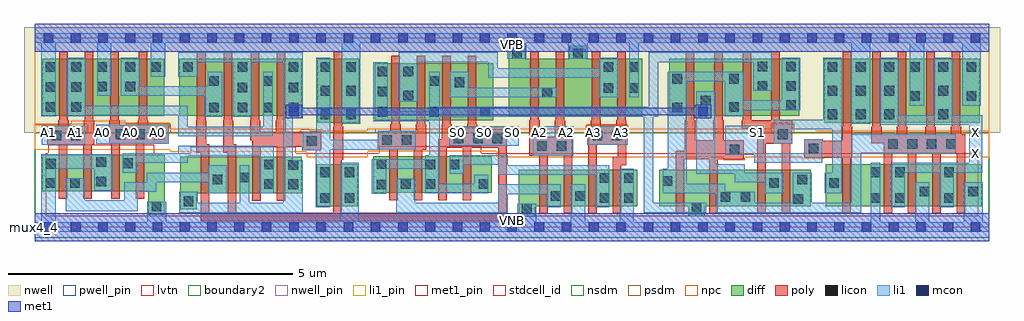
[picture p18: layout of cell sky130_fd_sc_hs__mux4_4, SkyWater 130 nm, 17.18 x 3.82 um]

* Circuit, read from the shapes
.subckt sky130_fd_sc_hs__mux4_4 A0 A1 A2 A3 S0 S1 VGND VNB VPB VPWR X
XM1 n1 A1 VGND VNB sky130_fd_pr__nfet_01v8_lvt w=0.64 l=0.15 m=2
XM2 n2 A0 VGND VNB sky130_fd_pr__nfet_01v8_lvt w=0.64 l=0.15 m=2
XM3 n1 S0 n3 VNB sky130_fd_pr__nfet_01v8_lvt w=0.64 l=0.15 m=2
XM4 n2 n4 n3 VNB sky130_fd_pr__nfet_01v8_lvt w=0.64 l=0.15 m=2
XM5 VGND S0 n4 VNB sky130_fd_pr__nfet_01v8_lvt w=0.74 l=0.15
XM6 n5 n4 n6 VNB sky130_fd_pr__nfet_01v8_lvt w=0.64 l=0.15 m=2
XM7 n7 S0 n6 VNB sky130_fd_pr__nfet_01v8_lvt w=0.64 l=0.15 m=2
XM8 n5 A2 VGND VNB sky130_fd_pr__nfet_01v8_lvt w=0.64 l=0.15 m=2
XM9 n7 A3 VGND VNB sky130_fd_pr__nfet_01v8_lvt w=0.64 l=0.15 m=2
XM10 n6 S1 n8 VNB sky130_fd_pr__nfet_01v8_lvt w=0.64 l=0.15 m=2
XM11 n3 n9 n8 VNB sky130_fd_pr__nfet_01v8_lvt w=0.64 l=0.15 m=2
XM12 VGND S1 n9 VNB sky130_fd_pr__nfet_01v8_lvt w=0.74 l=0.15
XM13 X n8 VGND VNB sky130_fd_pr__nfet_01v8_lvt w=0.74 l=0.15 m=4
XM14 n10 A1 VPWR VPB sky130_fd_pr__pfet_01v8 w=1 l=0.15 m=2
XM15 n11 A0 VPWR VPB sky130_fd_pr__pfet_01v8 w=1 l=0.15 m=2
XM16 n11 S0 n3 VPB sky130_fd_pr__pfet_01v8 w=1 l=0.15 m=2
XM17 n10 n4 n3 VPB sky130_fd_pr__pfet_01v8 w=1 l=0.15 m=2
XM18 VPWR S0 n4 VPB sky130_fd_pr__pfet_01v8 w=1.12 l=0.15
XM19 n12 n4 n6 VPB sky130_fd_pr__pfet_01v8 w=1 l=0.15 m=2
XM20 n13 S0 n6 VPB sky130_fd_pr__pfet_01v8 w=1 l=0.15 m=2
XM21 n13 A2 VPWR VPB sky130_fd_pr__pfet_01v8 w=1 l=0.15 m=2
XM22 n12 A3 VPWR VPB sky130_fd_pr__pfet_01v8 w=1 l=0.15 m=2
XM23 n3 S1 n8 VPB sky130_fd_pr__pfet_01v8 w=1 l=0.15 m=2
XM24 n6 n9 n8 VPB sky130_fd_pr__pfet_01v8 w=1 l=0.15 m=2
XM25 VPWR S1 n9 VPB sky130_fd_pr__pfet_01v8 w=1.12 l=0.15
XM26 X n8 VPWR VPB sky130_fd_pr__pfet_01v8 w=1.12 l=0.15 m=4
.ends

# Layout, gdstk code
import gdstk
lib = gdstk.Library(unit=1e-6, precision=1e-09)
def R(c, l, rs):  # rectangles x0, y0, x1, y1
    for r in rs: c.add(gdstk.rectangle(r[:2], r[2:], *l))
def A(c, l, x, y, w, h, nx, ny, dx, dy):  # array of equal rectangles
    R(c, l, [(x+i*dx, y+j*dy, x+i*dx+w, y+j*dy+h) for i in range(nx) for j in range(ny)])
def P(c, l, *ps):  # polygons
    for p in ps: c.add(gdstk.Polygon(p, *l))
nwell_pin = (64, 16)
nwell = (64, 20)
diff = (65, 20)
poly = (66, 20)
licon = (66, 44)
li1_pin = (67, 16)
li1 = (67, 20)
mcon = (67, 44)
met1_pin = (68, 16)
met1 = (68, 20)
stdcell_id = (81, 4)
nsdm = (93, 44)
psdm = (94, 20)
npc = (95, 20)
pwell_pin = (122, 16)
lvtn = (125, 44)
boundary2 = (236, 0)

sky130_fd_sc_hs__mux4_4 = lib.new_cell('sky130_fd_sc_hs__mux4_4')
R(sky130_fd_sc_hs__mux4_4, nwell_pin, [(0,3.085,16.8,3.33)])
R(sky130_fd_sc_hs__mux4_4, nwell, [(-0.19,1.66,16.99,3.52)])
R(sky130_fd_sc_hs__mux4_4, diff, [(4.965,0.37,5.685,1.11), (13.925,0.37,16.665,1.11), (5.955,0.605,8.045,1.245), (4.97,1.84,5.71,2.96), (13.895,1.84,16.635,2.96), (5.98,1.885,8.07,2.885), (0.135,1.96,2.275,2.96), (2.545,1.96,4.7,2.96), (11.165,1.96,13.455,2.96)])
P(sky130_fd_sc_hs__mux4_4, diff, [(2.29,1.27),(0.135,1.27),(0.135,0.63),(2,0.63),(2,0.22),(2.29,0.22)],
  [(4.695,1.235),(2.56,1.235),(2.56,0.31),(2.85,0.31),(2.85,0.595),(4.695,0.595)],
  [(10.605,1.01),(8.515,1.01),(8.515,0.18),(8.805,0.18),(8.805,0.37),(10.605,0.37)],
  [(10.695,2.96),(9.71,2.96),(9.71,3.195),(9.41,3.195),(9.41,2.96),(8.63,2.96),(8.63,3.195),(8.34,3.195),(8.34,1.96),(10.695,1.96)],
  [(13.655,1.01),(10.995,1.01),(10.995,0.37),(11.505,0.37),(11.505,0.195),(11.795,0.195),(11.795,0.37),(13.655,0.37)])
P(sky130_fd_sc_hs__mux4_4, poly, [(1.045,1.885),(1.03,1.885),(1.03,3.09),(0.88,3.09),(0.88,1.885),(0.865,1.885),(0.865,1.78),(0.595,1.78),(0.595,1.885),(0.58,1.885),(0.58,3.09),(0.43,3.09),(0.43,1.885),(0.415,1.885),(0.415,1.78),(0.22,1.78),(0.22,1.45),(0.42,1.45),(0.42,0.5),(0.57,0.5),(0.57,1.45),(0.85,1.45),(0.85,0.5),(1,0.5),(1,1.45),(1.045,1.45)],
  [(2.355,1.8),(1.995,1.8),(1.995,1.885),(1.98,1.885),(1.98,3.09),(1.83,3.09),(1.83,1.885),(1.815,1.885),(1.815,1.8),(1.495,1.8),(1.495,1.885),(1.48,1.885),(1.48,3.09),(1.33,3.09),(1.33,1.885),(1.315,1.885),(1.315,1.47),(1.345,1.47),(1.345,0.5),(1.495,0.5),(1.495,1.47),(1.775,1.47),(1.775,0.5),(1.925,0.5),(1.925,1.47),(2.355,1.47)],
  [(5.04,1.68),(4.42,1.68),(4.42,1.885),(4.405,1.885),(4.405,3.09),(4.255,3.09),(4.255,1.885),(4.24,1.885),(4.24,1.68),(3.97,1.68),(3.97,1.885),(3.955,1.885),(3.955,3.09),(3.805,3.09),(3.805,1.885),(3.79,1.885),(3.79,1.53),(3.83,1.53),(3.83,0.465),(3.98,0.465),(3.98,1.415),(4.26,1.415),(4.26,0.465),(4.41,0.465),(4.41,1.415),(4.71,1.415),(4.71,1.35),(5.04,1.35)],
  [(6.89,1.81),(6.875,1.81),(6.875,3.015),(6.725,3.015),(6.725,1.81),(6.71,1.81),(6.71,1.695),(6.44,1.695),(6.44,1.81),(6.425,1.81),(6.425,3.015),(6.275,3.015),(6.275,1.81),(6.26,1.81),(6.26,1.695),(6.035,1.695),(6.035,1.365),(6.24,1.365),(6.24,0.475),(6.39,0.475),(6.39,1.365),(6.67,1.365),(6.67,0.475),(6.82,0.475),(6.82,1.365),(6.89,1.365)],
  [(8.305,1.725),(7.79,1.725),(7.79,1.81),(7.775,1.81),(7.775,3.015),(7.625,3.015),(7.625,1.81),(7.61,1.81),(7.61,1.725),(7.34,1.725),(7.34,1.81),(7.325,1.81),(7.325,3.015),(7.175,3.015),(7.175,1.81),(7.16,1.81),(7.16,1.545),(7.1,1.545),(7.1,0.475),(7.25,0.475),(7.25,1.395),(7.53,1.395),(7.53,0.475),(7.68,0.475),(7.68,1.395),(8.155,1.395),(8.155,0.255),(5.4,0.255),(5.4,1.185),(5.43,1.185),(5.43,1.765),(5.415,1.765),(5.415,3.09),(5.265,3.09),(5.265,1.765),(5.25,1.765),(5.25,0.255),(3.55,0.255),(3.55,1.46),(3.495,1.46),(3.495,1.885),(3.48,1.885),(3.48,3.09),(3.33,3.09),(3.33,1.885),(3.315,1.885),(3.315,1.31),(3.4,1.31),(3.4,0.255),(3.075,0.255),(3.075,1.46),(3.02,1.46),(3.02,1.885),(3.005,1.885),(3.005,3.09),(2.855,3.09),(2.855,1.885),(2.84,1.885),(2.84,1.31),(2.925,1.31),(2.925,0.105),(8.305,0.105)],
  [(9.46,1.59),(9.335,1.59),(9.335,1.885),(9.32,1.885),(9.32,3.09),(9.17,3.09),(9.17,1.885),(9.155,1.885),(9.155,1.59),(8.885,1.59),(8.885,1.885),(8.87,1.885),(8.87,3.09),(8.72,3.09),(8.72,1.885),(8.705,1.885),(8.705,1.26),(8.88,1.26),(8.88,0.24),(9.03,0.24),(9.03,1.26),(9.31,1.26),(9.31,0.24),(9.46,0.24)],
  [(10.415,1.885),(10.4,1.885),(10.4,3.09),(10.25,3.09),(10.25,1.885),(10.235,1.885),(10.235,1.775),(9.965,1.775),(9.965,1.885),(9.95,1.885),(9.95,3.09),(9.8,3.09),(9.8,1.885),(9.785,1.885),(9.785,1.775),(9.74,1.775),(9.74,0.24),(9.89,0.24),(9.89,1.445),(10.26,1.445),(10.26,1.235),(10.17,1.235),(10.17,0.24),(10.32,0.24),(10.32,1.085),(10.41,1.085),(10.41,1.595),(10.415,1.595)],
  [(12.48,1.525),(12.125,1.525),(12.125,1.885),(12.11,1.885),(12.11,3.09),(11.96,3.09),(11.96,1.885),(11.945,1.885),(11.945,1.525),(11.625,1.525),(11.625,1.885),(11.61,1.885),(11.61,3.09),(11.46,3.09),(11.46,1.885),(11.445,1.885),(11.445,1.345),(11.28,1.345),(11.28,0.24),(11.43,0.24),(11.43,1.195),(11.87,1.195),(11.87,0.24),(12.02,0.24),(12.02,1.195),(12.48,1.195)],
  [(16.38,1.63),(16.305,1.63),(16.305,1.765),(16.29,1.765),(16.29,3.09),(16.14,3.09),(16.14,1.765),(16.125,1.765),(16.125,1.63),(15.855,1.63),(15.855,1.765),(15.84,1.765),(15.84,3.09),(15.69,3.09),(15.69,1.765),(15.675,1.765),(15.675,1.63),(15.355,1.63),(15.355,1.765),(15.34,1.765),(15.34,3.09),(15.19,3.09),(15.19,1.765),(15.175,1.765),(15.175,1.63),(14.905,1.63),(14.905,1.765),(14.89,1.765),(14.89,3.09),(14.74,3.09),(14.74,1.765),(14.725,1.765),(14.725,1.48),(14.94,1.48),(14.94,0.24),(15.09,0.24),(15.09,1.3),(15.37,1.3),(15.37,0.24),(15.52,0.24),(15.52,1.3),(15.8,1.3),(15.8,0.24),(15.95,0.24),(15.95,1.3),(16.23,1.3),(16.23,0.24),(16.38,0.24)],
  [(14.39,1.765),(14.375,1.765),(14.375,3.09),(14.225,3.09),(14.225,1.765),(14.21,1.765),(14.21,1.52),(13.87,1.52),(13.87,1.55),(13.54,1.55),(13.54,1.22),(14.21,1.22),(14.21,0.24),(14.36,0.24),(14.36,1.22),(14.39,1.22)],
  [(13.33,1.885),(13.11,1.885),(13.11,3.09),(12.96,3.09),(12.96,1.885),(12.61,1.885),(12.61,3.09),(12.46,3.09),(12.46,1.885),(12.445,1.885),(12.445,1.735),(12.72,1.735),(12.72,0.24),(12.87,0.24),(12.87,1.47),(13.15,1.47),(13.15,0.24),(13.3,0.24),(13.3,1.47),(13.33,1.47)])
A(sky130_fd_sc_hs__mux4_4, licon, 15.02, 1.38, 0.17, 0.17, 4, 1, 0.34, 0)
A(sky130_fd_sc_hs__mux4_4, licon, 7.375, 1.475, 0.17, 0.17, 3, 1, 0.34, 0)
A(sky130_fd_sc_hs__mux4_4, licon, 1.425, 1.55, 0.17, 0.17, 3, 1, 0.34, 0)
A(sky130_fd_sc_hs__mux4_4, licon, 5.03, 1.9, 0.17, 0.17, 1, 3, 0, 0.415)
A(sky130_fd_sc_hs__mux4_4, licon, 5.48, 1.9, 0.17, 0.17, 1, 3, 0, 0.415)
A(sky130_fd_sc_hs__mux4_4, licon, 13.955, 1.9, 0.17, 0.17, 3, 3, 0.5, 0.415)
A(sky130_fd_sc_hs__mux4_4, licon, 6.04, 1.945, 0.17, 0.17, 3, 1, 0.9, 0)
A(sky130_fd_sc_hs__mux4_4, licon, 3.57, 2.02, 0.17, 0.17, 3, 1, 0.45, 0)
A(sky130_fd_sc_hs__mux4_4, licon, 13.225, 2.06, 0.17, 0.17, 1, 3, 0, 0.34)
A(sky130_fd_sc_hs__mux4_4, licon, 0.195, 2.73, 0.17, 0.17, 3, 1, 0.45, 0)
A(sky130_fd_sc_hs__mux4_4, licon, 15.405, 2.73, 0.17, 0.17, 3, 1, 0.5, 0)
R(sky130_fd_sc_hs__mux4_4, licon, [(8.575,0.24,8.745,0.41), (11.565,0.255,11.735,0.425), (2.06,0.28,2.23,0.45), (2.62,0.37,2.79,0.54), (13.355,0.41,13.525,0.58), (5.025,0.43,5.195,0.6), (5.455,0.43,5.625,0.6), (9.945,0.43,10.115,0.6), (10.375,0.43,10.545,0.6), (14.715,0.43,14.885,0.6), (15.145,0.43,15.315,0.6), (16.005,0.43,16.175,0.6), (12.075,0.445,12.245,0.615), (12.425,0.445,12.595,0.615), (9.085,0.465,9.255,0.635), (9.515,0.465,9.685,0.635), (15.575,0.54,15.745,0.71), (16.435,0.54,16.605,0.71), (6.015,0.665,6.185,0.835), (4.465,0.67,4.635,0.84), (4.035,0.675,4.205,0.845), (6.445,0.675,6.615,0.845), (6.875,0.675,7.045,0.845), (7.815,0.675,7.985,0.845), (0.195,0.69,0.365,0.86), (0.625,0.69,0.795,0.86), (12.925,0.69,13.095,0.86), (13.985,0.69,14.155,0.86), (1.085,0.72,1.255,0.89), (11.055,0.725,11.225,0.895), (13.425,0.75,13.595,0.92), (3.13,0.755,3.3,0.925), (9.945,0.78,10.115,0.95), (10.375,0.78,10.545,0.95), (3.605,0.785,3.775,0.955), (5.025,0.88,5.195,1.05), (5.455,0.88,5.625,1.05), (14.715,0.88,14.885,1.05), (15.145,0.88,15.315,1.05), (16.005,0.88,16.175,1.05), (4.465,1.01,4.635,1.18), (4.035,1.015,4.205,1.185), (6.875,1.015,7.045,1.185), (7.305,1.015,7.475,1.185), (6.015,1.025,6.185,1.195), (0.195,1.03,0.365,1.2), (1.55,1.04,1.72,1.21), (1.085,1.06,1.255,1.23), (12.23,1.275,12.4,1.445), (13.62,1.3,13.79,1.47), (8.845,1.34,9.015,1.51), (9.185,1.34,9.355,1.51), (4.79,1.43,4.96,1.6), (6.115,1.445,6.285,1.615), (6.455,1.445,6.625,1.615), (9.82,1.525,9.99,1.695), (10.16,1.525,10.33,1.695), (0.3,1.53,0.47,1.7), (0.64,1.53,0.81,1.7), (13.08,1.55,13.25,1.72), (15.905,1.9,16.075,2.07), (3.07,2.02,3.24,2.19), (11.225,2.02,11.395,2.19), (0.195,2.03,0.365,2.2), (0.645,2.03,0.815,2.2), (12.225,2.03,12.395,2.2), (11.725,2.145,11.895,2.315), (15.405,2.22,15.575,2.39), (16.405,2.22,16.575,2.39), (6.49,2.23,6.66,2.4), (8.935,2.285,9.105,2.455), (6.04,2.3,6.21,2.47), (15.905,2.315,16.075,2.485), (10.015,2.365,10.185,2.535), (10.465,2.365,10.635,2.535), (3.57,2.375,3.74,2.545), (4.47,2.375,4.64,2.545), (0.195,2.38,0.365,2.55), (0.645,2.38,0.815,2.55), (1.095,2.39,1.265,2.56), (1.595,2.39,1.765,2.56), (12.725,2.4,12.895,2.57), (7.39,2.465,7.56,2.635), (3.07,2.485,3.24,2.655), (4.02,2.485,4.19,2.655), (6.94,2.485,7.11,2.655), (11.225,2.525,11.395,2.695), (12.225,2.525,12.395,2.695), (6.04,2.655,6.21,2.825), (6.49,2.655,6.66,2.825), (1.595,2.73,1.765,2.9), (2.045,2.73,2.215,2.9), (2.61,2.73,2.78,2.9), (3.57,2.73,3.74,2.9), (4.47,2.73,4.64,2.9), (10.015,2.73,10.185,2.9), (10.465,2.73,10.635,2.9), (12.725,2.74,12.895,2.91), (8.4,2.965,8.57,3.135), (9.475,2.965,9.645,3.135)])
A(sky130_fd_sc_hs__mux4_4, li1_pin, 0.155, 1.58, 0.17, 0.17, 5, 1, 0.48, 0)
A(sky130_fd_sc_hs__mux4_4, li1_pin, 7.355, 1.58, 0.17, 0.17, 7, 1, 0.48, 0)
R(sky130_fd_sc_hs__mux4_4, li1_pin, [(16.475,1.21,16.645,1.38), (12.635,1.58,12.805,1.75), (16.475,1.58,16.645,1.75)])
R(sky130_fd_sc_hs__mux4_4, li1, [(8.765,1.26,9.475,1.775), (7.295,1.435,8.515,1.775), (9.725,1.445,10.435,1.775), (0.125,1.45,0.89,1.78), (1.085,1.47,2.355,1.8)])
P(sky130_fd_sc_hs__mux4_4, li1, [(3.3,2.735),(3.045,2.735),(3.045,2.48),(1.845,2.48),(1.845,2.98),(1.515,2.98),(1.515,2.31),(2.99,2.31),(2.99,1.94),(3.3,1.94)],
  [(3.38,1.09),(3.05,1.09),(3.05,0.96),(1.97,0.96),(1.97,0.79),(1.575,0.79),(1.575,0.47),(0.875,0.47),(0.875,0.86),(0.545,0.86),(0.545,0.275),(1.81,0.275),(1.81,0.62),(2.14,0.62),(2.14,0.79),(3.05,0.79),(3.05,0.595),(3.38,0.595)],
  [(4.19,2.735),(4.02,2.735),(4.02,1.77),(2.695,1.77),(2.695,2.14),(0.895,2.14),(0.895,2.98),(0.565,2.98),(0.565,1.95),(0.895,1.95),(0.895,1.97),(2.525,1.97),(2.525,1.6),(4.19,1.6)],
  [(4.205,1.43),(2.525,1.43),(2.525,1.3),(1.55,1.3),(1.55,0.96),(1.8,0.96),(1.8,1.13),(2.695,1.13),(2.695,1.26),(3.955,1.26),(3.955,0.595),(4.205,0.595)],
  [(4.72,3.075),(2.525,3.075),(2.525,2.65),(2.86,2.65),(2.86,2.905),(3.49,2.905),(3.49,1.94),(3.82,1.94),(3.82,2.905),(4.375,2.905),(4.375,0.425),(3.775,0.425),(3.775,1.09),(3.605,1.09),(3.605,0.425),(2.87,0.425),(2.87,0.62),(2.54,0.62),(2.54,0.255),(4.715,0.255),(4.715,1.18),(4.545,1.18),(4.545,1.92),(4.72,1.92)],
  [(6.705,1.695),(6.035,1.695),(6.035,1.535),(5.2,1.535),(5.2,2.98),(4.95,2.98),(4.95,1.68),(4.715,1.68),(4.715,1.35),(4.945,1.35),(4.945,0.35),(5.2,0.35),(5.2,1.365),(6.705,1.365)],
  [(9.185,2.455),(7.64,2.455),(7.64,2.735),(7.31,2.735),(7.31,2.285),(9.185,2.285)],
  [(9.255,0.75),(8.155,0.75),(8.155,0.425),(6.695,0.425),(6.695,0.855),(6.365,0.855),(6.365,0.255),(8.325,0.255),(8.325,0.58),(9.005,0.58),(9.005,0.35),(9.255,0.35)],
  [(16.675,1.97),(16.155,1.97),(16.155,2.98),(15.825,2.98),(15.825,1.97),(15.205,1.97),(15.205,2.98),(14.875,2.98),(14.875,1.8),(16.445,1.8),(16.445,1.13),(15.065,1.13),(15.065,0.35),(15.315,0.35),(15.315,0.96),(15.925,0.96),(15.925,0.35),(16.175,0.35),(16.175,0.96),(16.675,0.96)],
  [(16.21,1.63),(14.375,1.63),(14.375,0.425),(13.675,0.425),(13.675,0.96),(13.345,0.96),(13.345,0.425),(12.675,0.425),(12.675,0.62),(12.155,0.62),(12.155,0.765),(11.475,0.765),(11.475,2.565),(12.145,2.565),(12.145,1.95),(12.475,1.95),(12.475,2.06),(13.475,2.06),(13.475,2.98),(13.145,2.98),(13.145,2.23),(12.475,2.23),(12.475,2.735),(11.145,2.735),(11.145,1.03),(11.055,1.03),(11.055,0.595),(11.985,0.595),(11.985,0.255),(14.545,0.255),(14.545,1.3),(16.21,1.3)],
  [(10.115,1.09),(8.325,1.09),(8.325,1.265),(7.305,1.265),(7.305,0.935),(7.555,0.935),(7.555,1.095),(8.155,1.095),(8.155,0.92),(9.865,0.92),(9.865,0.35),(10.115,0.35)],
  [(10.265,2.98),(9.935,2.98),(9.935,2.795),(8.15,2.795),(8.15,3.075),(6.41,3.075),(6.41,2.205),(6.74,2.205),(6.74,2.905),(7.98,2.905),(7.98,2.625),(9.935,2.625),(9.935,2.285),(10.265,2.285)],
  [(12.975,3.075),(10.805,3.075),(10.805,2.115),(7.125,2.115),(7.125,2.735),(6.94,2.735),(6.94,2.035),(6.21,2.035),(6.21,2.905),(5.96,2.905),(5.96,1.865),(6.94,1.865),(6.94,1.265),(6.875,1.265),(6.875,1.195),(5.935,1.195),(5.935,0.585),(6.185,0.585),(6.185,1.025),(6.875,1.025),(6.875,0.595),(7.985,0.595),(7.985,0.925),(7.735,0.925),(7.735,0.765),(7.125,0.765),(7.125,1.945),(10.715,1.945),(10.715,0.255),(11.815,0.255),(11.815,0.425),(10.885,0.425),(10.885,1.945),(10.975,1.945),(10.975,2.905),(12.645,2.905),(12.645,2.4),(12.975,2.4)],
  [(13.175,0.96),(12.495,0.96),(12.495,1.105),(11.975,1.105),(11.975,2.395),(11.645,2.395),(11.645,0.935),(12.325,0.935),(12.325,0.79),(12.86,0.79),(12.86,0.595),(13.175,0.595)],
  [(16.8,0.085),(16.685,0.085),(16.685,0.79),(16.355,0.79),(16.355,0.085),(15.745,0.085),(15.745,0.79),(15.495,0.79),(15.495,0.085),(14.885,0.085),(14.885,1.13),(14.715,1.13),(14.715,0.085),(10.545,0.085),(10.545,1.03),(10.295,1.03),(10.295,0.085),(9.685,0.085),(9.685,0.75),(9.435,0.75),(9.435,0.085),(8.825,0.085),(8.825,0.41),(8.495,0.41),(8.495,0.085),(5.705,0.085),(5.705,1.13),(5.375,1.13),(5.375,0.085),(2.31,0.085),(2.31,0.45),(1.98,0.45),(1.98,0.085),(0.365,0.085),(0.365,1.03),(1.045,1.03),(1.045,0.64),(1.37,0.64),(1.37,1.28),(0.115,1.28),(0.115,0.085),(0,0.085),(0,-0.085),(16.8,-0.085)],
  [(13.865,1.55),(13.54,1.55),(13.54,1.3),(12.835,1.3),(12.835,1.78),(12.15,1.78),(12.15,1.275),(12.665,1.275),(12.665,1.13),(13.865,1.13)],
  [(14.205,2.98),(13.875,2.98),(13.875,1.89),(13.005,1.89),(13.005,1.47),(13.33,1.47),(13.33,1.72),(14.035,1.72),(14.035,0.96),(13.905,0.96),(13.905,0.595),(14.205,0.595)],
  [(16.8,3.415),(0,3.415),(0,3.245),(0.115,3.245),(0.115,1.95),(0.365,1.95),(0.365,3.245),(1.095,3.245),(1.095,2.31),(1.345,2.31),(1.345,3.245),(2.045,3.245),(2.045,2.65),(2.295,2.65),(2.295,3.245),(5.4,3.245),(5.4,1.82),(5.73,1.82),(5.73,3.245),(8.32,3.245),(8.32,2.965),(8.65,2.965),(8.65,3.245),(9.39,3.245),(9.39,2.965),(9.73,2.965),(9.73,3.245),(10.465,3.245),(10.465,2.285),(10.635,2.285),(10.635,3.245),(14.375,3.245),(14.375,1.82),(14.705,1.82),(14.705,3.245),(15.405,3.245),(15.405,2.14),(15.655,2.14),(15.655,3.245),(16.325,3.245),(16.325,2.14),(16.655,2.14),(16.655,3.245),(16.8,3.245)])
A(sky130_fd_sc_hs__mux4_4, mcon, 0.155, -0.085, 0.17, 0.17, 35, 2, 0.48, 3.33)
R(sky130_fd_sc_hs__mux4_4, mcon, [(4.475,1.95,4.645,2.12), (11.675,1.95,11.845,2.12)])
R(sky130_fd_sc_hs__mux4_4, met1_pin, [(0,0,16.8,0.245), (0,3.085,16.8,3.33)])
R(sky130_fd_sc_hs__mux4_4, met1, [(0,-0.245,16.8,0.245), (0,3.085,16.8,3.575)])
P(sky130_fd_sc_hs__mux4_4, met1, [(11.905,2.15),(11.615,2.15),(11.615,2.105),(4.705,2.105),(4.705,2.15),(4.415,2.15),(4.415,1.92),(4.705,1.92),(4.705,1.965),(11.615,1.965),(11.615,1.92),(11.905,1.92)])
R(sky130_fd_sc_hs__mux4_4, stdcell_id, [(0,0,16.8,3.33)])
R(sky130_fd_sc_hs__mux4_4, nsdm, [(0,-0.19,16.8,1.66)])
P(sky130_fd_sc_hs__mux4_4, psdm, [(16.8,3.52),(0,3.52),(0,1.81),(0.92,1.81),(0.92,1.66),(1.315,1.66),(1.315,1.83),(2.385,1.83),(2.385,1.66),(4.68,1.66),(4.68,1.71),(5.07,1.71),(5.07,1.66),(6.005,1.66),(6.005,1.725),(6.735,1.725),(6.735,1.66),(7.265,1.66),(7.265,1.755),(8.335,1.755),(8.335,1.66),(9.71,1.66),(9.71,1.805),(10.44,1.805),(10.44,1.66),(12.97,1.66),(12.97,1.83),(13.36,1.83),(13.36,1.66),(16.8,1.66)])
P(sky130_fd_sc_hs__mux4_4, npc, [(16.8,1.7),(13.755,1.7),(13.755,1.73),(13.35,1.73),(13.35,1.82),(12.98,1.82),(12.98,1.73),(10.43,1.73),(10.43,1.795),(9.72,1.795),(9.72,1.73),(8.325,1.73),(8.325,1.745),(7.275,1.745),(7.275,1.73),(5.85,1.73),(5.85,1.7),(4.83,1.7),(4.83,1.73),(2.375,1.73),(2.375,1.82),(1.59,1.82),(1.59,1.87),(0.645,1.87),(0.645,1.8),(0,1.8),(0,1.36),(2.38,1.36),(2.38,1.325),(4.785,1.325),(4.785,1.23),(5.865,1.23),(5.865,1.335),(8.135,1.335),(8.135,1.23),(12.13,1.23),(12.13,1.175),(12.5,1.175),(12.5,1.23),(13.52,1.23),(13.52,1.2),(13.89,1.2),(13.89,1.23),(16.8,1.23)])
R(sky130_fd_sc_hs__mux4_4, pwell_pin, [(0,0,16.8,0.245)])
P(sky130_fd_sc_hs__mux4_4, lvtn, [(16.61,1.3),(7.86,1.3),(7.86,1.425),(6.06,1.425),(6.06,1.3),(4.59,1.3),(4.59,1.415),(2.745,1.415),(2.745,1.3),(2.105,1.3),(2.105,1.45),(0.24,1.45),(0.24,1.3),(0.19,1.3),(0.19,0.19),(16.61,0.19)])
R(sky130_fd_sc_hs__mux4_4, boundary2, [(0,0,16.8,3.33)])
sky130_fd_sc_hs__mux4_4.add(gdstk.Label('mux4_4', (0,0), layer=83, texttype=44))
sky130_fd_sc_hs__mux4_4.add(gdstk.Label('VNB', (8.4,0.123), layer=64, texttype=59))
sky130_fd_sc_hs__mux4_4.add(gdstk.Label('VPB', (8.4,3.208), layer=64, texttype=5))
sky130_fd_sc_hs__mux4_4.add(gdstk.Label('VPWR', (8.4,3.208), layer=68, texttype=5))
sky130_fd_sc_hs__mux4_4.add(gdstk.Label('VGND', (8.4,0.123), layer=68, texttype=5))
sky130_fd_sc_hs__mux4_4.add(gdstk.Label('S1', (12.72,1.665), layer=67, texttype=5))
sky130_fd_sc_hs__mux4_4.add(gdstk.Label('A0', (1.2,1.665), layer=67, texttype=5))
sky130_fd_sc_hs__mux4_4.add(gdstk.Label('A0', (1.68,1.665), layer=67, texttype=5))
sky130_fd_sc_hs__mux4_4.add(gdstk.Label('A0', (2.16,1.665), layer=67, texttype=5))
sky130_fd_sc_hs__mux4_4.add(gdstk.Label('A1', (0.24,1.665), layer=67, texttype=5))
sky130_fd_sc_hs__mux4_4.add(gdstk.Label('A1', (0.72,1.665), layer=67, texttype=5))
sky130_fd_sc_hs__mux4_4.add(gdstk.Label('A2', (8.88,1.665), layer=67, texttype=5))
sky130_fd_sc_hs__mux4_4.add(gdstk.Label('A2', (9.36,1.665), layer=67, texttype=5))
sky130_fd_sc_hs__mux4_4.add(gdstk.Label('A3', (9.84,1.665), layer=67, texttype=5))
sky130_fd_sc_hs__mux4_4.add(gdstk.Label('A3', (10.32,1.665), layer=67, texttype=5))
sky130_fd_sc_hs__mux4_4.add(gdstk.Label('S0', (7.44,1.665), layer=67, texttype=5))
sky130_fd_sc_hs__mux4_4.add(gdstk.Label('S0', (7.92,1.665), layer=67, texttype=5))
sky130_fd_sc_hs__mux4_4.add(gdstk.Label('S0', (8.4,1.665), layer=67, texttype=5))
sky130_fd_sc_hs__mux4_4.add(gdstk.Label('X', (16.56,1.295), layer=67, texttype=5))
sky130_fd_sc_hs__mux4_4.add(gdstk.Label('X', (16.56,1.665), layer=67, texttype=5))

lib.write_gds('sky130_fd_sc_hs__mux4_4.gds')
